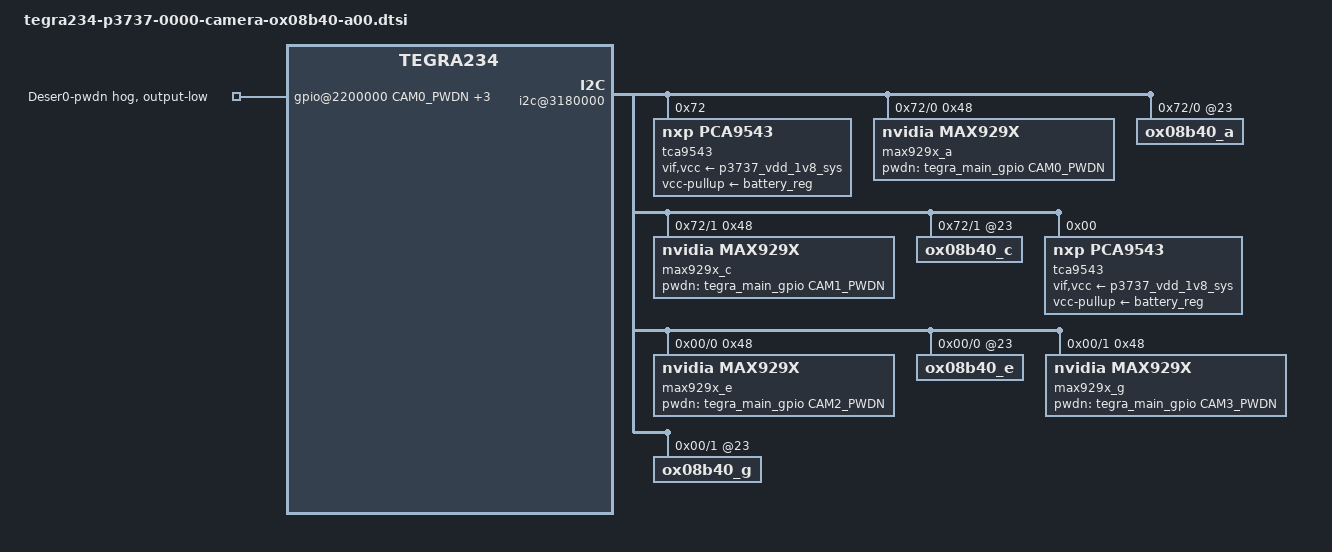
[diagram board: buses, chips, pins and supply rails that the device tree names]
/*
 * Copyright (c) 2018-2021, NVIDIA CORPORATION.  All rights reserved.
 *
 * This program is free software; you can redistribute it and/or modify it
 * under the terms and conditions of the GNU General Public License,
 * version 2, as published by the Free Software Foundation.
 *
 * This program is distributed in the hope it will be useful, but WITHOUT
 * ANY WARRANTY; without even the implied warranty of MERCHANTABILITY or
 * FITNESS FOR A PARTICULAR PURPOSE.  See the GNU General Public License for
 * more details.
 *
 * You should have received a copy of the GNU General Public License
 * along with this program.  If not, see <http://www.gnu.org/licenses/>.
 */
//#include <t234-common-modules/tegra234-camera-imx390-a00_otocam.dtsi>
#include <t234-common-modules/tegra234-camera-ox08b40-a00.dtsi>
#include "dt-bindings/clock/tegra234-clock.h"

#define CAM0_RST_L	TEGRA234_MAIN_GPIO(H, 3)
#define CAM0_PWDN	TEGRA234_MAIN_GPIO(H, 6)
#define CAM1_PWDN	TEGRA234_MAIN_GPIO(AC, 0)
#define CAM1_RST_L	TEGRA234_MAIN_GPIO(AC, 2)
#define CAM2_PWDN	TEGRA234_MAIN_GPIO(H, 3)
#define CAM3_PWDN	TEGRA234_MAIN_GPIO(AC, 1)
#define CAMERA_I2C_MUX_BUS(x) (0x1E + x)

/* camera control gpio definitions */

/ {
	gpio@2200000 {
		camera-control-output-low {
			gpio-hog;
			output-low;
			gpios = <CAM0_PWDN 0  CAM1_PWDN 0
				 CAM2_PWDN 0  CAM3_PWDN 0>;
			label = "Deser0-pwdn", "Deser1-pwdn",
				"Deser2-pwdn", "Deser3-pwdn";
		};
	};

	i2c@3180000 {
		tca9543@72 {
			compatible = "nxp,pca9543";
			reg = <0x72>;
			#address-cells = <1>;
			#size-cells = <0>;
			skip_mux_detect = "yes";
			vif-supply = <&p3737_vdd_1v8_sys>;
			vcc-supply = <&p3737_vdd_1v8_sys>;
			vcc-pullup-supply = <&battery_reg>;
			force_bus_start = <CAMERA_I2C_MUX_BUS(0)>;
			
			i2c@0 {
				reg = <0>;
				i2c-mux,deselect-on-exit;
				#address-cells = <1>;
				#size-cells = <0>;
				max929x_a@48 {
					compatible = "nvidia,max929x";
					//streams = "yuv8";
					reg = <0x48>;
					deser-index = <0>;
					channel = "a";
					pwdn-gpios = <&tegra_main_gpio CAM0_PWDN GPIO_ACTIVE_HIGH>;
					//csi-mode = "2x4";
					//max-src = <2>;
					//fsync-gpio = <6>; //fsync gpio on 9296
					//reset-gpios = <&tegra_main_gpio CAM0_PWDN GPIO_ACTIVE_HIGH>;
					//reset-gpios = <&tegra_main_gpio CAM0_RST_L GPIO_ACTIVE_HIGH>;
				};
				ox08b40_a@23 {
					/* Define any required hw resources needed by driver */
					/* ie. clocks, io pins, power sources */
					clocks = <&bpmp_clks TEGRA234_CLK_EXTPERIPH1>,
							 <&bpmp_clks TEGRA234_CLK_EXTPERIPH1>;
					clock-names = "extperiph1", "pllp_grtba";
					mclk = "extperiph1";
					phy-num = <1>; // PHY Y
					mode = "master";
					def-addr = <0x23>;
					channel = "a";
				};
			};
                        i2c@1 {
                                reg = <1>;
                                i2c-mux,deselect-on-exit;
                                #address-cells = <1>;
                                #size-cells = <0>;
                                max929x_c@48 {
                                        compatible = "nvidia,max929x";
                                        //streams = "yuv8";
                                        reg = <0x48>;
                                        deser-index = <1>;
                                        channel = "c";
                                        pwdn-gpios = <&tegra_main_gpio CAM1_PWDN GPIO_ACTIVE_HIGH>;
                                        //csi-mode = "2x4";
                                        //max-src = <2>;
                                        //fsync-gpio = <6>; //fsync gpio on 9296
                                        //reset-gpios = <&tegra_main_gpio CAM0_PWDN GPIO_ACTIVE_HIGH>;
                                        //reset-gpios = <&tegra_main_gpio CAM0_RST_L GPIO_ACTIVE_HIGH>;
                                };
                                ox08b40_c@23 {
                                        /* Define any required hw resources needed by driver */
                                        /* ie. clocks, io pins, power sources */
                                        clocks = <&bpmp_clks TEGRA234_CLK_EXTPERIPH1>,
                                                         <&bpmp_clks TEGRA234_CLK_EXTPERIPH1>;
                                        clock-names = "extperiph1", "pllp_grtba";
                                        mclk = "extperiph1";
                                        phy-num = <1>; // PHY Y
                                        mode = "master";
                                        def-addr = <0x23>;
                                        channel = "c";
                                };
                        };
		};
                tca9543@73 {
                        compatible = "nxp,pca9543";
                        reg = <0>;
                        #address-cells = <1>;
                        #size-cells = <0>;
                        skip_mux_detect = "yes";
                        vif-supply = <&p3737_vdd_1v8_sys>;
                        vcc-supply = <&p3737_vdd_1v8_sys>;
                        vcc-pullup-supply = <&battery_reg>;
                        force_bus_start = <CAMERA_I2C_MUX_BUS(2)>;

                        i2c@0 {
                                reg = <0>;
                                i2c-mux,deselect-on-exit;
                                #address-cells = <1>;
                                #size-cells = <0>;
                                max929x_e@48 {
                                        compatible = "nvidia,max929x";
                                        reg = <0x48>;
                                        deser-index = <2>;
                                        channel = "e";
                                        pwdn-gpios = <&tegra_main_gpio CAM2_PWDN GPIO_ACTIVE_HIGH>;
                                };
                                ox08b40_e@23 {
                                        clocks = <&bpmp_clks TEGRA234_CLK_EXTPERIPH1>,
                                                         <&bpmp_clks TEGRA234_CLK_EXTPERIPH1>;
                                        clock-names = "extperiph1", "pllp_grtba";
                                        mclk = "extperiph1";
                                        phy-num = <1>; // PHY Y
                                        mode = "master";
                                        def-addr = <0x23>;
                                        channel = "e";
                                };
                        };
                        i2c@1 {
                                reg = <1>;
                                i2c-mux,deselect-on-exit;
                                #address-cells = <1>;
                                #size-cells = <0>;
                                max929x_g@48 {
                                        compatible = "nvidia,max929x";
                                        //streams = "yuv8";
                                        reg = <0x48>;
                                        deser-index = <3>;
                                        channel = "g";
                                        pwdn-gpios = <&tegra_main_gpio CAM3_PWDN GPIO_ACTIVE_HIGH>;
                                        //csi-mode = "2x4";
                                        //max-src = <2>;
                                        //fsync-gpio = <6>; //fsync gpio on 9296
                                        //reset-gpios = <&tegra_main_gpio CAM0_PWDN GPIO_ACTIVE_HIGH>;
                                        //reset-gpios = <&tegra_main_gpio CAM0_RST_L GPIO_ACTIVE_HIGH>;
                                };
                                ox08b40_g@23 {
                                        clocks = <&bpmp_clks TEGRA234_CLK_EXTPERIPH1>,
                                                         <&bpmp_clks TEGRA234_CLK_EXTPERIPH1>;
                                        clock-names = "extperiph1", "pllp_grtba";
                                        mclk = "extperiph1";
                                        phy-num = <1>; // PHY Y
                                        mode = "master";
                                        def-addr = <0x23>;
                                        channel = "g";
                                };
                        };
                };

	};
};



